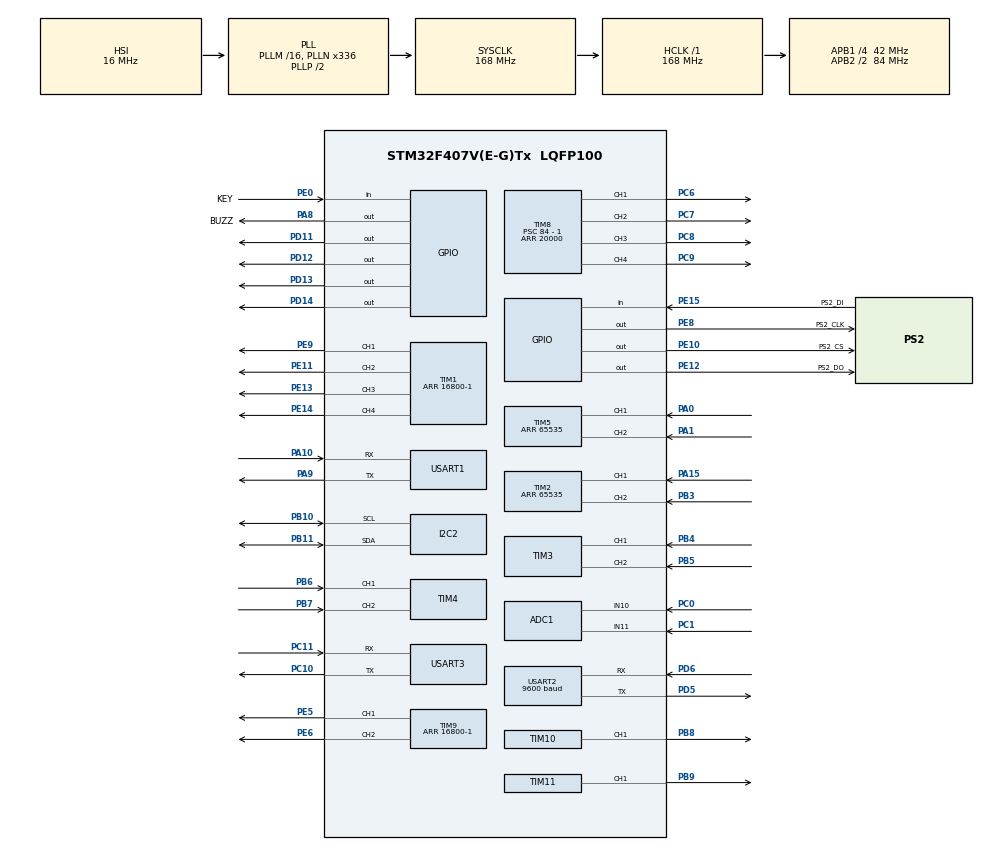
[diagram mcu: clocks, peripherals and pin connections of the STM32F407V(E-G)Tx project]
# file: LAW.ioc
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ADC1.Channel-1\#ChannelRegularConversion=ADC_CHANNEL_10
ADC1.Channel-2\#ChannelRegularConversion=ADC_CHANNEL_11
ADC1.DiscontinuousConvMode=ENABLE
ADC1.NbrOfConversion=2
ADC1.NbrOfConversionFlag=1
ADC1.Rank-1\#ChannelRegularConversion=1
ADC1.Rank-2\#ChannelRegularConversion=2
ADC1.SamplingTime-1\#ChannelRegularConversion=ADC_SAMPLETIME_3CYCLES
ADC1.SamplingTime-2\#ChannelRegularConversion=ADC_SAMPLETIME_3CYCLES
ADC1.ScanConvMode=ENABLE
ADC1.master=1
Mcu.Family=STM32F4
Mcu.Name=STM32F407V(E-G)Tx
Mcu.Package=LQFP100
NVIC.PriorityGroup=NVIC_PRIORITYGROUP_4
NVIC.TIM8_BRK_TIM12_IRQn=true\:1\:0\:true\:false\:true\:true\:true\:true
NVIC.USART1_IRQn=true\:1\:0\:true\:false\:true\:true\:true\:true
NVIC.USART2_IRQn=true\:0\:0\:false\:false\:true\:true\:true\:true
NVIC.USART3_IRQn=true\:0\:0\:true\:false\:true\:true\:true\:true
PA0-WKUP.Signal=S_TIM5_CH1
PA1.Signal=S_TIM5_CH2
PA10.Mode=Asynchronous
PA10.Signal=USART1_RX
PA13.Mode=Serial_Wire
PA13.Signal=SYS_JTMS-SWDIO
PA14.Mode=Serial_Wire
PA14.Signal=SYS_JTCK-SWCLK
PA15.Signal=S_TIM2_CH1_ETR
PA8.GPIO_Label=BUZZ
PA8.Signal=GPIO_Output
PA9.Mode=Asynchronous
PA9.Signal=USART1_TX
PB10.Mode=I2C
PB10.Signal=I2C2_SCL
PB11.Mode=I2C
PB11.Signal=I2C2_SDA
PB3.Signal=S_TIM2_CH2
PB4.Signal=S_TIM3_CH1
PB5.Signal=S_TIM3_CH2
PB6.Signal=S_TIM4_CH1
PB7.Signal=S_TIM4_CH2
PB8.Signal=S_TIM10_CH1
PB9.Signal=S_TIM11_CH1
PC0.Signal=ADCx_IN10
PC1.Signal=ADCx_IN11
PC10.Mode=Asynchronous
PC10.Signal=USART3_TX
PC11.Mode=Asynchronous
PC11.Signal=USART3_RX
PC6.Signal=S_TIM8_CH1
PC7.Signal=S_TIM8_CH2
PC8.Signal=S_TIM8_CH3
PC9.Signal=S_TIM8_CH4
PD11.Signal=GPIO_Output
PD12.Signal=GPIO_Output
PD13.Signal=GPIO_Output
PD14.Signal=GPIO_Output
PD5.Mode=Asynchronous
PD5.Signal=USART2_TX
PD6.Mode=Asynchronous
PD6.Signal=USART2_RX
PE0.GPIO_Label=KEY
PE0.Signal=GPIO_Input
PE10.GPIO_Label=PS2_CS
PE10.PinState=GPIO_PIN_SET
PE10.Signal=GPIO_Output
PE11.Signal=S_TIM1_CH2
PE12.GPIO_Label=PS2_DO
PE12.Signal=GPIO_Output
PE13.Signal=S_TIM1_CH3
PE14.Signal=S_TIM1_CH4
PE15.GPIO_Label=PS2_DI
PE15.GPIO_PuPd=GPIO_PULLUP
PE15.Signal=GPIO_Input
PE5.Signal=S_TIM9_CH1
PE6.Signal=S_TIM9_CH2
PE8.GPIO_Label=PS2_CLK
PE8.Signal=GPIO_Output
PE9.Signal=S_TIM1_CH1
PH0-OSC_IN.Mode=HSE-External-Oscillator
PH0-OSC_IN.Signal=RCC_OSC_IN
PH1-OSC_OUT.Mode=HSE-External-Oscillator
PH1-OSC_OUT.Signal=RCC_OSC_OUT
ProjectManager.HeapSize=0x200
ProjectManager.StackSize=0x400
ProjectManager.TargetToolchain=MDK-ARM V5.32
RCC.48MHZClocksFreq_Value=84000000
RCC.AHBFreq_Value=168000000
RCC.APB1CLKDivider=RCC_HCLK_DIV4
RCC.APB1Freq_Value=42000000
RCC.APB1TimFreq_Value=84000000
RCC.APB2CLKDivider=RCC_HCLK_DIV2
RCC.APB2Freq_Value=84000000
RCC.APB2TimFreq_Value=168000000
RCC.CortexFreq_Value=168000000
RCC.HCLKFreq_Value=168000000
RCC.HSE_VALUE=25000000
RCC.HSI_VALUE=16000000
RCC.LSE_VALUE=32768
RCC.PLLN=336
RCC.SYSCLKFreq_VALUE=168000000
RCC.SYSCLKSource=RCC_SYSCLKSOURCE_PLLCLK
RCC.VCOOutputFreq_Value=336000000
SH.ADCx_IN10.0=ADC1_IN10,IN10
SH.ADCx_IN11.0=ADC1_IN11,IN11
SH.S_TIM10_CH1.0=TIM10_CH1,PWM Generation1 CH1
SH.S_TIM11_CH1.0=TIM11_CH1,PWM Generation1 CH1
SH.S_TIM1_CH1.0=TIM1_CH1,PWM Generation1 CH1
SH.S_TIM1_CH2.0=TIM1_CH2,PWM Generation2 CH2
SH.S_TIM1_CH3.0=TIM1_CH3,PWM Generation3 CH3
SH.S_TIM1_CH4.0=TIM1_CH4,PWM Generation4 CH4
SH.S_TIM2_CH1_ETR.0=TIM2_CH1,Encoder_Interface
SH.S_TIM2_CH2.0=TIM2_CH2,Encoder_Interface
SH.S_TIM3_CH1.0=TIM3_CH1,Encoder_Interface
SH.S_TIM3_CH2.0=TIM3_CH2,Encoder_Interface
SH.S_TIM4_CH1.0=TIM4_CH1,Encoder_Interface
SH.S_TIM4_CH2.0=TIM4_CH2,Encoder_Interface
SH.S_TIM5_CH1.0=TIM5_CH1,Encoder_Interface
SH.S_TIM5_CH2.0=TIM5_CH2,Encoder_Interface
SH.S_TIM8_CH1.0=TIM8_CH1,PWM Generation1 CH1
SH.S_TIM8_CH2.0=TIM8_CH2,PWM Generation2 CH2
SH.S_TIM8_CH3.0=TIM8_CH3,PWM Generation3 CH3
SH.S_TIM8_CH4.0=TIM8_CH4,PWM Generation4 CH4
SH.S_TIM9_CH1.0=TIM9_CH1,PWM Generation1 CH1
SH.S_TIM9_CH2.0=TIM9_CH2,PWM Generation2 CH2
TIM1.AutoReloadPreload=TIM_AUTORELOAD_PRELOAD_ENABLE
TIM1.Channel-PWM\ Generation1\ CH1=TIM_CHANNEL_1
TIM1.Channel-PWM\ Generation2\ CH2=TIM_CHANNEL_2
TIM1.Channel-PWM\ Generation3\ CH3=TIM_CHANNEL_3
TIM1.Channel-PWM\ Generation4\ CH4=TIM_CHANNEL_4
TIM1.Period=16800-1
TIM10.AutoReloadPreload=TIM_AUTORELOAD_PRELOAD_ENABLE
TIM10.Channel=TIM_CHANNEL_1
TIM10.Period=16800-1
TIM11.AutoReloadPreload=TIM_AUTORELOAD_PRELOAD_ENABLE
TIM11.Channel=TIM_CHANNEL_1
TIM11.Period=16800-1
TIM12.AutoReloadPreload=TIM_AUTORELOAD_PRELOAD_ENABLE
TIM12.Period=10000-1
TIM12.Prescaler=84-1
TIM2.EncoderMode=TIM_ENCODERMODE_TI12
TIM2.IC1Filter=15
TIM2.IC2Filter=15
TIM2.Period=65535
TIM3.EncoderMode=TIM_ENCODERMODE_TI12
TIM3.IC1Filter=15
TIM3.IC2Filter=15
TIM4.EncoderMode=TIM_ENCODERMODE_TI12
TIM4.IC1Filter=15
TIM4.IC2Filter=15
TIM5.EncoderMode=TIM_ENCODERMODE_TI12
TIM5.IC1Filter=15
TIM5.IC2Filter=15
TIM5.Period=65535
TIM8.AutoReloadPreload=TIM_AUTORELOAD_PRELOAD_ENABLE
TIM8.Channel-PWM\ Generation1\ CH1=TIM_CHANNEL_1
TIM8.Channel-PWM\ Generation2\ CH2=TIM_CHANNEL_2
TIM8.Channel-PWM\ Generation3\ CH3=TIM_CHANNEL_3
TIM8.Channel-PWM\ Generation4\ CH4=TIM_CHANNEL_4
TIM8.Period=20000
TIM8.Prescaler=84 - 1
TIM9.AutoReloadPreload=TIM_AUTORELOAD_PRELOAD_ENABLE
TIM9.Channel-PWM\ Generation1\ CH1=TIM_CHANNEL_1
TIM9.Channel-PWM\ Generation2\ CH2=TIM_CHANNEL_2
TIM9.Period=16800-1
USART1.VirtualMode=VM_ASYNC
USART2.BaudRate=9600
USART2.VirtualMode=VM_ASYNC
USART3.VirtualMode=VM_ASYNC
VP_TIM10_VS_ClockSourceINT.Mode=Enable_Timer
VP_TIM11_VS_ClockSourceINT.Mode=Enable_Timer
VP_TIM12_VS_ClockSourceINT.Mode=Internal
VP_TIM1_VS_ClockSourceINT.Mode=Internal
VP_TIM8_VS_ClockSourceINT.Mode=Internal
board=custom

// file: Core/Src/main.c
/* USER CODE BEGIN Header */
/**
  ******************************************************************************
  * @file           : main.c
  * @brief          : Main program body
  ******************************************************************************
  * @attention
  *
  * Copyright (c) 2025 STMicroelectronics.
  * All rights reserved.
  *
  * This software is licensed under terms that can be found in the LICENSE file
  * in the root directory of this software component.
  * If no LICENSE file comes with this software, it is provided AS-IS.
  *
  ******************************************************************************
  */
/* USER CODE END Header */
#include "main.h"
#include "adc.h"
#include "i2c.h"
#include "tim.h"
#include "usart.h"
#include "gpio.h"

/* USER CODE BEGIN Includes */
#include "MyHeader.h"
/* USER CODE END Includes */

void SystemClock_Config(void);

int main(void)
{

  /* MCU Configuration--------------------------------------------------------*/

  /* Reset of all peripherals, Initializes the Flash interface and the Systick. */
  HAL_Init();

  /* Configure the system clock */
  SystemClock_Config();

  /* Initialize all configured peripherals */
  MX_GPIO_Init();
  MX_USART1_UART_Init();
  MX_USART2_UART_Init();
  MX_TIM2_Init();
  MX_TIM3_Init();
  MX_TIM4_Init();
  MX_TIM5_Init();
  MX_TIM1_Init();
  MX_TIM8_Init();
  MX_TIM9_Init();
  MX_TIM10_Init();
  MX_TIM11_Init();
  MX_TIM12_Init();
  MX_I2C2_Init();
  MX_USART3_UART_Init();
  MX_ADC1_Init();
  /* USER CODE BEGIN 2 */
	HAL_TIM_Encoder_Start(&htim2,TIM_CHANNEL_1);
	HAL_TIM_Encoder_Start(&htim2,TIM_CHANNEL_2);
	HAL_TIM_Encoder_Start(&htim3,TIM_CHANNEL_1);
	HAL_TIM_Encoder_Start(&htim3,TIM_CHANNEL_2);
	HAL_TIM_Encoder_Start(&htim4,TIM_CHANNEL_1);
	HAL_TIM_Encoder_Start(&htim4,TIM_CHANNEL_2);
	HAL_TIM_Encoder_Start(&htim5,TIM_CHANNEL_1);
	HAL_TIM_Encoder_Start(&htim5,TIM_CHANNEL_2);

	HAL_TIM_PWM_Start(&htim1,TIM_CHANNEL_1);
	HAL_TIM_PWM_Start(&htim1,TIM_CHANNEL_2);
	HAL_TIM_PWM_Start(&htim1,TIM_CHANNEL_3);
	HAL_TIM_PWM_Start(&htim1,TIM_CHANNEL_4);
	HAL_TIM_PWM_Start(&htim9,TIM_CHANNEL_1);
	HAL_TIM_PWM_Start(&htim9,TIM_CHANNEL_2);
	HAL_TIM_PWM_Start(&htim10,TIM_CHANNEL_1);
	HAL_TIM_PWM_Start(&htim11,TIM_CHANNEL_1);
	HAL_TIM_PWM_Start(&htim8,TIM_CHANNEL_1);
	HAL_TIM_PWM_Start(&htim8,TIM_CHANNEL_2);
	HAL_TIM_PWM_Start(&htim8,TIM_CHANNEL_3);
	HAL_TIM_PWM_Start(&htim8,TIM_CHANNEL_4);
	OLED_Init();
	OLED_DisplayTurn(0);
  OLED_ColorTurn(0);

	Robot_Init(Diff_wheelSpacing,0,0,HALL_30F, Photoelectric_500, Black_WheelDiameter);
	Wheel_perimeter = Diff_wheelSpacing*PI;
	int count = 10 ,MPU_DMP_ret;
	while(count--)	//陀螺仪初始化  必须水平初始化
	{
			MPU_DMP_ret = MPU6050_DMP_init();
			if (MPU_DMP_ret == 0)
			{
				Buzz(100);
				count = 0;
				break;
			}
			else{
					Buzz(10);
			}
	}
  HAL_UART_Receive_IT(&huart2, (uint8_t *)&aRxBuffer2, 1);  //maixcam通信函数
	HAL_TIM_Base_Start_IT((TIM_HandleTypeDef *)&htim12);//定时器开启
	int count_flag = 0;  //球的个数
	int ps_flag = 0;  //按下start为1  切换到ps遥控
	uint8_t V_limit = 2; //挡位
	close();
	HT();
		 while(1){
				ADC_OLED();
				key_scan();
				if(keyNum == 1){
						OLED_DisPlay_Off();
						break;
				}
		}
  /* USER CODE END 2 */

  /* Infinite loop */
  /* USER CODE BEGIN WHILE */
  while (1)
  {

		PS2_Read_Data();

		if(ps_flag == 0){  //自主模式
				if(PS2_Data.Key_Start == 1){
						ps_flag = 1;
						Buzz(100);
				}
				if(count_flag == 0){
						while(1) {
								pos_speed = 1.5;  //定距离的速度
								if(moveDistance(0.9) == 1){
										count_flag = 1;
										break;
								}
						}
				}
				else if(count_flag == 1){
						if(task_WinBall(1) == 1){
								count_flag = 2;
						}
				}
				else if(count_flag == 2){
						if(task_WinBall(1) == 1){
								count_flag = 3;
						}
				}
				else if(count_flag == 3){
						if(task_WinBall(9) == 1){
								count_flag = 4;
						}
				}
				else if(count_flag == 4){
						if(task_WinBall(9) == 1){
								count_flag = 5;
						}
				}
				else if(count_flag == 5){
						if(task_WinBall(9) == 1){
								count_flag = 6;
						}
				}
				else if(count_flag == 6){
						if(task_WinBall(9) == 1){
								count_flag = 7;
						}
				}
				else if(count_flag == 7){
						if(task_WinBall(9) == 1){
								count_flag = 8;
						}
				}
				else if(count_flag == 8){
						if(task_WinBall(9) == 1){
								count_flag = 9;
						}
				}
				else if(count_flag == 9){
						if(task_WinBall(9) == 1){
								count_flag = 10;
						}
				}
				else if(count_flag == 10){
						if(task_WinBall(9) == 1){
								count_flag = 11;
						}
				}
				else if(count_flag == 11){
						if(task_WinBall(9) == 1){
								count_flag = 12;
						}
				}
				else if(count_flag == 12){
						if(task_WinBall(9) == 1){
								count_flag = 13;
						}
				}
				else if(count_flag == 13){
						if(task_WinBall(9) == 1){
								count_flag = 14;
						}
				}
				else if(count_flag == 14){
						if(task_WinBall(9) == 1){
								count_flag = 15;
						}
				}
				else if(count_flag == 15){
						if(task_WinBall(9) == 1){
								count_flag = 16;
						}
				}
		}
		else if(ps_flag == 1){  //遥控模式
				CarMode = 0;
				if(PS2_Data.Key_L1 == 1){
						V_limit = 3;
				}
				if(PS2_Data.Key_R1 == 1){
						V_limit = 2;
				}
				if(PS2_Data.Key_L2 == 1){
						close();
				}
				if(PS2_Data.Key_R2 == 1){
						open(100);
						TS();
						HT();
				}
				int8_t x_enable  = PS2_Data.Rocker_LY / 127;
				int8_t y_enable = PS2_Data.Rocker_RX / 127;

				Set_Pwm(-3000*V_limit*x_enable -2000*y_enable, 3000*V_limit*x_enable-2000*y_enable, MOTOR_C.Motor_Pwm, MOTOR_D.Motor_Pwm);
				HAL_Delay(20);
		}

    /* USER CODE END WHILE */

  }
}

void SystemClock_Config(void)
{
  RCC_OscInitTypeDef RCC_OscInitStruct = {0};
  RCC_ClkInitTypeDef RCC_ClkInitStruct = {0};

  /** Configure the main internal regulator output voltage
  */
  __HAL_RCC_PWR_CLK_ENABLE();
  __HAL_PWR_VOLTAGESCALING_CONFIG(PWR_REGULATOR_VOLTAGE_SCALE1);

  /** Initializes the RCC Oscillators according to the specified parameters
  * in the RCC_OscInitTypeDef structure.
  */
  RCC_OscInitStruct.OscillatorType = RCC_OSCILLATORTYPE_HSI;
  RCC_OscInitStruct.HSIState = RCC_HSI_ON;
  RCC_OscInitStruct.HSICalibrationValue = RCC_HSICALIBRATION_DEFAULT;
  RCC_OscInitStruct.PLL.PLLState = RCC_PLL_ON;
  RCC_OscInitStruct.PLL.PLLSource = RCC_PLLSOURCE_HSI;
  RCC_OscInitStruct.PLL.PLLM = 16;
  RCC_OscInitStruct.PLL.PLLN = 336;
  RCC_OscInitStruct.PLL.PLLP = RCC_PLLP_DIV2;
  RCC_OscInitStruct.PLL.PLLQ = 4;
  if (HAL_RCC_OscConfig(&RCC_OscInitStruct) != HAL_OK)
  {
    Error_Handler();
  }

  /** Initializes the CPU, AHB and APB buses clocks
  */
  RCC_ClkInitStruct.ClockType = RCC_CLOCKTYPE_HCLK|RCC_CLOCKTYPE_SYSCLK
                              |RCC_CLOCKTYPE_PCLK1|RCC_CLOCKTYPE_PCLK2;
  RCC_ClkInitStruct.SYSCLKSource = RCC_SYSCLKSOURCE_PLLCLK;
  RCC_ClkInitStruct.AHBCLKDivider = RCC_SYSCLK_DIV1;
  RCC_ClkInitStruct.APB1CLKDivider = RCC_HCLK_DIV4;
  RCC_ClkInitStruct.APB2CLKDivider = RCC_HCLK_DIV2;

  if (HAL_RCC_ClockConfig(&RCC_ClkInitStruct, FLASH_LATENCY_5) != HAL_OK)
  {
    Error_Handler();
  }
}

void Error_Handler(void)
{
  __disable_irq();
  while (1)
  {
  }
}
